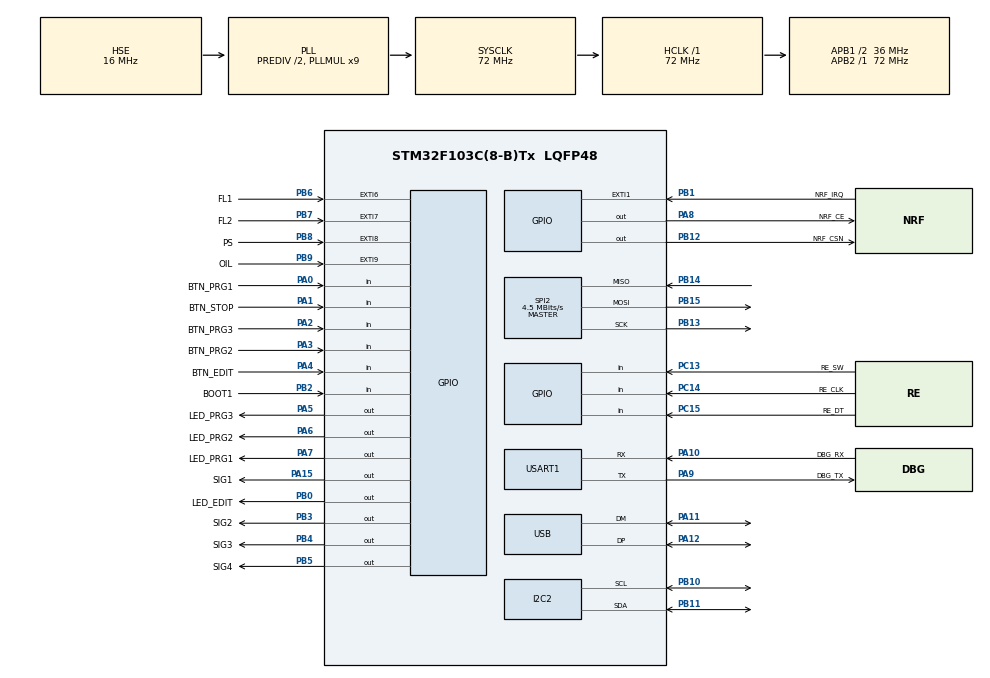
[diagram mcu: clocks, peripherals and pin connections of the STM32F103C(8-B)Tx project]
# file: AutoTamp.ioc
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Mcu.Family=STM32F1
Mcu.Name=STM32F103C(8-B)Tx
Mcu.Package=LQFP48
NVIC.EXTI1_IRQn=true\:0\:0\:false\:false\:true\:true\:true\:true
NVIC.EXTI9_5_IRQn=true\:0\:0\:false\:false\:true\:true\:true\:true
NVIC.PriorityGroup=NVIC_PRIORITYGROUP_4
NVIC.TIM2_IRQn=true\:0\:0\:false\:false\:true\:true\:true\:true
NVIC.TIM3_IRQn=true\:0\:0\:false\:false\:true\:true\:true\:true
NVIC.USB_LP_CAN1_RX0_IRQn=true\:0\:0\:false\:false\:true\:false\:true\:true
PA0-WKUP.GPIO_Label=BTN_PRG1
PA0-WKUP.Signal=GPIO_Input
PA1.GPIO_Label=BTN_STOP
PA1.Signal=GPIO_Input
PA10.GPIO_Label=DBG_RX
PA10.Mode=Asynchronous
PA10.Signal=USART1_RX
PA11.Mode=Device
PA11.Signal=USB_DM
PA12.Mode=Device
PA12.Signal=USB_DP
PA13.Mode=Serial_Wire
PA13.Signal=SYS_JTMS-SWDIO
PA14.Mode=Serial_Wire
PA14.Signal=SYS_JTCK-SWCLK
PA15.GPIO_Label=SIG1
PA15.Signal=GPIO_Output
PA2.GPIO_Label=BTN_PRG3
PA2.Signal=GPIO_Input
PA3.GPIO_Label=BTN_PRG2
PA3.Signal=GPIO_Input
PA4.GPIO_Label=BTN_EDIT
PA4.Signal=GPIO_Input
PA5.GPIO_Label=LED_PRG3
PA5.Signal=GPIO_Output
PA6.GPIO_Label=LED_PRG2
PA6.Signal=GPIO_Output
PA7.GPIO_Label=LED_PRG1
PA7.Signal=GPIO_Output
PA8.GPIO_Label=NRF_CE
PA8.GPIO_Speed=GPIO_SPEED_FREQ_HIGH
PA8.PinState=GPIO_PIN_RESET
PA8.Signal=GPIO_Output
PA9.GPIO_Label=DBG_TX
PA9.Mode=Asynchronous
PA9.Signal=USART1_TX
PB0.GPIO_Label=LED_EDIT
PB0.Signal=GPIO_Output
PB1.GPIO_Label=NRF_IRQ
PB1.GPIO_ModeDefaultEXTI=GPIO_MODE_IT_FALLING
PB1.Signal=GPXTI1
PB10.Mode=I2C
PB10.Signal=I2C2_SCL
PB11.Mode=I2C
PB11.Signal=I2C2_SDA
PB12.GPIO_Label=NRF_CSN
PB12.GPIO_Speed=GPIO_SPEED_FREQ_HIGH
PB12.PinState=GPIO_PIN_RESET
PB12.Signal=GPIO_Output
PB13.Mode=Full_Duplex_Master
PB13.Signal=SPI2_SCK
PB14.Mode=Full_Duplex_Master
PB14.Signal=SPI2_MISO
PB15.Mode=Full_Duplex_Master
PB15.Signal=SPI2_MOSI
PB2.GPIO_Label=BOOT1
PB2.Signal=GPIO_Input
PB3.GPIO_Label=SIG2
PB3.Signal=GPIO_Output
PB4.GPIO_Label=SIG3
PB4.Signal=GPIO_Output
PB5.GPIO_Label=SIG4
PB5.Signal=GPIO_Output
PB6.GPIO_Label=FL1
PB6.GPIO_ModeDefaultEXTI=GPIO_MODE_IT_FALLING
PB6.Signal=GPXTI6
PB7.GPIO_Label=FL2
PB7.GPIO_ModeDefaultEXTI=GPIO_MODE_IT_FALLING
PB7.Signal=GPXTI7
PB8.GPIO_Label=PS
PB8.GPIO_ModeDefaultEXTI=GPIO_MODE_IT_FALLING
PB8.Signal=GPXTI8
PB9.GPIO_Label=OIL
PB9.GPIO_ModeDefaultEXTI=GPIO_MODE_IT_FALLING
PB9.Signal=GPXTI9
PC13-TAMPER-RTC.GPIO_Label=RE_SW
PC13-TAMPER-RTC.Signal=GPIO_Input
PC14-OSC32_IN.GPIO_Label=RE_CLK
PC14-OSC32_IN.Signal=GPIO_Input
PC15-OSC32_OUT.GPIO_Label=RE_DT
PC15-OSC32_OUT.Signal=GPIO_Input
PD0-OSC_IN.Mode=HSE-External-Oscillator
PD0-OSC_IN.Signal=RCC_OSC_IN
PD1-OSC_OUT.Mode=HSE-External-Oscillator
PD1-OSC_OUT.Signal=RCC_OSC_OUT
ProjectManager.HeapSize=0x200
ProjectManager.StackSize=0x400
ProjectManager.TargetToolchain=STM32CubeIDE
RCC.AHBFreq_Value=72000000
RCC.APB1CLKDivider=RCC_HCLK_DIV2
RCC.APB1Freq_Value=36000000
RCC.APB1TimFreq_Value=72000000
RCC.APB2Freq_Value=72000000
RCC.APB2TimFreq_Value=72000000
RCC.HCLKFreq_Value=72000000
RCC.HSEDivPLL=RCC_HSE_PREDIV_DIV2
RCC.HSE_VALUE=16000000
RCC.PLLMUL=RCC_PLL_MUL9
RCC.SYSCLKFreq_VALUE=72000000
RCC.SYSCLKSource=RCC_SYSCLKSOURCE_PLLCLK
RCC.USBFreq_Value=48000000
RCC.USBPrescaler=RCC_USBCLKSOURCE_PLL_DIV1_5
SPI2.BaudRatePrescaler=SPI_BAUDRATEPRESCALER_8
SPI2.CalculateBaudRate=4.5 MBits/s
SPI2.Direction=SPI_DIRECTION_2LINES
SPI2.Mode=SPI_MODE_MASTER
SPI2.VirtualType=VM_MASTER
TIM2.Period=1000 - 1
TIM2.Prescaler=720 - 1
TIM3.Period=400 - 1
TIM3.Prescaler=72 - 1
USART1.VirtualMode=VM_ASYNC
USB_DEVICE.CLASS_NAME_FS=CDC
USB_DEVICE.VirtualMode=Cdc
USB_DEVICE.VirtualModeFS=Cdc_FS
VP_TIM2_VS_ClockSourceINT.Mode=Internal
VP_TIM3_VS_ClockSourceINT.Mode=Internal
VP_USB_DEVICE_VS_USB_DEVICE_CDC_FS.Mode=CDC_FS
board=custom

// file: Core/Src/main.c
/* USER CODE BEGIN Header */
/**
 ******************************************************************************
 * @file           : main.c
 * @brief          : Main program body
 ******************************************************************************
 * @attention
 *
 * Copyright (c) 2023 STMicroelectronics.
 * All rights reserved.
 *
 * This software is licensed under terms that can be found in the LICENSE file
 * in the root directory of this software component.
 * If no LICENSE file comes with this software, it is provided AS-IS.
 *
 ******************************************************************************
 */
/* USER CODE END Header */
#include "main.h"
#include "usb_device.h"

/* USER CODE BEGIN Includes */
#include "modules/movement.h"
#include "modules/input.h"
#include "modules/sensor.h"
#include "modules/memory.h"
#include "modules/display.h"
#include "modules/receiver.h"
#include "modules/LED.h"
#include "control.h"
/* USER CODE END Includes */

I2C_HandleTypeDef hi2c2;

SPI_HandleTypeDef hspi2;

TIM_HandleTypeDef htim2;
TIM_HandleTypeDef htim3;

UART_HandleTypeDef huart1;

void SystemClock_Config(void);
static void MX_GPIO_Init(void);
static void MX_I2C2_Init(void);
static void MX_SPI2_Init(void);
static void MX_USART1_UART_Init(void);
static void MX_TIM2_Init(void);
static void MX_TIM3_Init(void);

int main(void)
{

  /* MCU Configuration--------------------------------------------------------*/

  /* Reset of all peripherals, Initializes the Flash interface and the Systick. */
  HAL_Init();

  /* Configure the system clock */
  SystemClock_Config();

  /* Initialize all configured peripherals */
  MX_GPIO_Init();
  MX_I2C2_Init();
  MX_SPI2_Init();
  MX_USART1_UART_Init();
  MX_USB_DEVICE_Init();
  MX_TIM2_Init();
  MX_TIM3_Init();
  /* USER CODE BEGIN 2 */

	HAL_Delay(200);

	Movement_Init();
	Input_Init();
	Sensor_Init();
	Memory_Init(&hi2c2);
	Receiver_Init(&hspi2);
	Display_Init(&hi2c2);

	HAL_Delay(100);

	Control_Init();

  /* USER CODE END 2 */

  /* Infinite loop */
  /* USER CODE BEGIN WHILE */
	while (1) {
		Control_Loop();
    /* USER CODE END WHILE */

	}
}

void SystemClock_Config(void)
{
  RCC_OscInitTypeDef RCC_OscInitStruct = {0};
  RCC_ClkInitTypeDef RCC_ClkInitStruct = {0};
  RCC_PeriphCLKInitTypeDef PeriphClkInit = {0};

  /** Initializes the RCC Oscillators according to the specified parameters
  * in the RCC_OscInitTypeDef structure.
  */
  RCC_OscInitStruct.OscillatorType = RCC_OSCILLATORTYPE_HSE;
  RCC_OscInitStruct.HSEState = RCC_HSE_ON;
  RCC_OscInitStruct.HSEPredivValue = RCC_HSE_PREDIV_DIV2;
  RCC_OscInitStruct.HSIState = RCC_HSI_ON;
  RCC_OscInitStruct.PLL.PLLState = RCC_PLL_ON;
  RCC_OscInitStruct.PLL.PLLSource = RCC_PLLSOURCE_HSE;
  RCC_OscInitStruct.PLL.PLLMUL = RCC_PLL_MUL9;
  if (HAL_RCC_OscConfig(&RCC_OscInitStruct) != HAL_OK)
  {
    Error_Handler();
  }

  /** Initializes the CPU, AHB and APB buses clocks
  */
  RCC_ClkInitStruct.ClockType = RCC_CLOCKTYPE_HCLK|RCC_CLOCKTYPE_SYSCLK
                              |RCC_CLOCKTYPE_PCLK1|RCC_CLOCKTYPE_PCLK2;
  RCC_ClkInitStruct.SYSCLKSource = RCC_SYSCLKSOURCE_PLLCLK;
  RCC_ClkInitStruct.AHBCLKDivider = RCC_SYSCLK_DIV1;
  RCC_ClkInitStruct.APB1CLKDivider = RCC_HCLK_DIV2;
  RCC_ClkInitStruct.APB2CLKDivider = RCC_HCLK_DIV1;

  if (HAL_RCC_ClockConfig(&RCC_ClkInitStruct, FLASH_LATENCY_2) != HAL_OK)
  {
    Error_Handler();
  }
  PeriphClkInit.PeriphClockSelection = RCC_PERIPHCLK_USB;
  PeriphClkInit.UsbClockSelection = RCC_USBCLKSOURCE_PLL_DIV1_5;
  if (HAL_RCCEx_PeriphCLKConfig(&PeriphClkInit) != HAL_OK)
  {
    Error_Handler();
  }
}

static void MX_I2C2_Init(void)
{

  hi2c2.Instance = I2C2;
  hi2c2.Init.ClockSpeed = 100000;
  hi2c2.Init.DutyCycle = I2C_DUTYCYCLE_2;
  hi2c2.Init.OwnAddress1 = 0;
  hi2c2.Init.AddressingMode = I2C_ADDRESSINGMODE_7BIT;
  hi2c2.Init.DualAddressMode = I2C_DUALADDRESS_DISABLE;
  hi2c2.Init.OwnAddress2 = 0;
  hi2c2.Init.GeneralCallMode = I2C_GENERALCALL_DISABLE;
  hi2c2.Init.NoStretchMode = I2C_NOSTRETCH_DISABLE;
  if (HAL_I2C_Init(&hi2c2) != HAL_OK)
  {
    Error_Handler();
  }

}

static void MX_SPI2_Init(void)
{

  /* SPI2 parameter configuration*/
  hspi2.Instance = SPI2;
  hspi2.Init.Mode = SPI_MODE_MASTER;
  hspi2.Init.Direction = SPI_DIRECTION_2LINES;
  hspi2.Init.DataSize = SPI_DATASIZE_8BIT;
  hspi2.Init.CLKPolarity = SPI_POLARITY_LOW;
  hspi2.Init.CLKPhase = SPI_PHASE_1EDGE;
  hspi2.Init.NSS = SPI_NSS_SOFT;
  hspi2.Init.BaudRatePrescaler = SPI_BAUDRATEPRESCALER_8;
  hspi2.Init.FirstBit = SPI_FIRSTBIT_MSB;
  hspi2.Init.TIMode = SPI_TIMODE_DISABLE;
  hspi2.Init.CRCCalculation = SPI_CRCCALCULATION_DISABLE;
  hspi2.Init.CRCPolynomial = 10;
  if (HAL_SPI_Init(&hspi2) != HAL_OK)
  {
    Error_Handler();
  }

}

static void MX_TIM2_Init(void)
{

  TIM_ClockConfigTypeDef sClockSourceConfig = {0};
  TIM_MasterConfigTypeDef sMasterConfig = {0};

  htim2.Instance = TIM2;
  htim2.Init.Prescaler = 720 - 1;
  htim2.Init.CounterMode = TIM_COUNTERMODE_UP;
  htim2.Init.Period = 1000 - 1;
  htim2.Init.ClockDivision = TIM_CLOCKDIVISION_DIV1;
  htim2.Init.AutoReloadPreload = TIM_AUTORELOAD_PRELOAD_DISABLE;
  if (HAL_TIM_Base_Init(&htim2) != HAL_OK)
  {
    Error_Handler();
  }
  sClockSourceConfig.ClockSource = TIM_CLOCKSOURCE_INTERNAL;
  if (HAL_TIM_ConfigClockSource(&htim2, &sClockSourceConfig) != HAL_OK)
  {
    Error_Handler();
  }
  sMasterConfig.MasterOutputTrigger = TIM_TRGO_RESET;
  sMasterConfig.MasterSlaveMode = TIM_MASTERSLAVEMODE_DISABLE;
  if (HAL_TIMEx_MasterConfigSynchronization(&htim2, &sMasterConfig) != HAL_OK)
  {
    Error_Handler();
  }
  /* USER CODE BEGIN TIM2_Init 2 */
	if (HAL_TIM_Base_Start_IT(&htim2) != HAL_OK) {
		Error_Handler();
	}
  /* USER CODE END TIM2_Init 2 */

}

static void MX_TIM3_Init(void)
{

  TIM_ClockConfigTypeDef sClockSourceConfig = {0};
  TIM_MasterConfigTypeDef sMasterConfig = {0};

  htim3.Instance = TIM3;
  htim3.Init.Prescaler = 72 - 1;
  htim3.Init.CounterMode = TIM_COUNTERMODE_UP;
  htim3.Init.Period = 400 - 1;
  htim3.Init.ClockDivision = TIM_CLOCKDIVISION_DIV1;
  htim3.Init.AutoReloadPreload = TIM_AUTORELOAD_PRELOAD_DISABLE;
  if (HAL_TIM_Base_Init(&htim3) != HAL_OK)
  {
    Error_Handler();
  }
  sClockSourceConfig.ClockSource = TIM_CLOCKSOURCE_INTERNAL;
  if (HAL_TIM_ConfigClockSource(&htim3, &sClockSourceConfig) != HAL_OK)
  {
    Error_Handler();
  }
  sMasterConfig.MasterOutputTrigger = TIM_TRGO_RESET;
  sMasterConfig.MasterSlaveMode = TIM_MASTERSLAVEMODE_DISABLE;
  if (HAL_TIMEx_MasterConfigSynchronization(&htim3, &sMasterConfig) != HAL_OK)
  {
    Error_Handler();
  }
  /* USER CODE BEGIN TIM3_Init 2 */
  if (HAL_TIM_Base_Start_IT(&htim3) != HAL_OK) {
  		Error_Handler();
  	}
  /* USER CODE END TIM3_Init 2 */

}

static void MX_USART1_UART_Init(void)
{

  huart1.Instance = USART1;
  huart1.Init.BaudRate = 115200;
  huart1.Init.WordLength = UART_WORDLENGTH_8B;
  huart1.Init.StopBits = UART_STOPBITS_1;
  huart1.Init.Parity = UART_PARITY_NONE;
  huart1.Init.Mode = UART_MODE_TX_RX;
  huart1.Init.HwFlowCtl = UART_HWCONTROL_NONE;
  huart1.Init.OverSampling = UART_OVERSAMPLING_16;
  if (HAL_UART_Init(&huart1) != HAL_OK)
  {
    Error_Handler();
  }

}

static void MX_GPIO_Init(void)
{
  GPIO_InitTypeDef GPIO_InitStruct = {0};

  /* GPIO Ports Clock Enable */
  __HAL_RCC_GPIOC_CLK_ENABLE();
  __HAL_RCC_GPIOD_CLK_ENABLE();
  __HAL_RCC_GPIOA_CLK_ENABLE();
  __HAL_RCC_GPIOB_CLK_ENABLE();

  /*Configure GPIO pin Output Level */
  HAL_GPIO_WritePin(GPIOA, LED_PRG3_Pin|LED_PRG2_Pin|LED_PRG1_Pin|NRF_CE_Pin
                          |SIG1_Pin, GPIO_PIN_RESET);

  /*Configure GPIO pin Output Level */
  HAL_GPIO_WritePin(GPIOB, LED_EDIT_Pin|NRF_CSN_Pin|SIG2_Pin|SIG3_Pin
                          |SIG4_Pin, GPIO_PIN_RESET);

  /*Configure GPIO pins : RE_SW_Pin RE_CLK_Pin RE_DT_Pin */
  GPIO_InitStruct.Pin = RE_SW_Pin|RE_CLK_Pin|RE_DT_Pin;
  GPIO_InitStruct.Mode = GPIO_MODE_INPUT;
  GPIO_InitStruct.Pull = GPIO_NOPULL;
  HAL_GPIO_Init(GPIOC, &GPIO_InitStruct);

  /*Configure GPIO pins : BTN_PRG1_Pin BTN_STOP_Pin BTN_PRG3_Pin BTN_PRG2_Pin
                           BTN_EDIT_Pin */
  GPIO_InitStruct.Pin = BTN_PRG1_Pin|BTN_STOP_Pin|BTN_PRG3_Pin|BTN_PRG2_Pin
                          |BTN_EDIT_Pin;
  GPIO_InitStruct.Mode = GPIO_MODE_INPUT;
  GPIO_InitStruct.Pull = GPIO_NOPULL;
  HAL_GPIO_Init(GPIOA, &GPIO_InitStruct);

  /*Configure GPIO pins : LED_PRG3_Pin LED_PRG2_Pin LED_PRG1_Pin SIG1_Pin */
  GPIO_InitStruct.Pin = LED_PRG3_Pin|LED_PRG2_Pin|LED_PRG1_Pin|SIG1_Pin;
  GPIO_InitStruct.Mode = GPIO_MODE_OUTPUT_PP;
  GPIO_InitStruct.Pull = GPIO_NOPULL;
  GPIO_InitStruct.Speed = GPIO_SPEED_FREQ_LOW;
  HAL_GPIO_Init(GPIOA, &GPIO_InitStruct);

  /*Configure GPIO pins : LED_EDIT_Pin SIG2_Pin SIG3_Pin SIG4_Pin */
  GPIO_InitStruct.Pin = LED_EDIT_Pin|SIG2_Pin|SIG3_Pin|SIG4_Pin;
  GPIO_InitStruct.Mode = GPIO_MODE_OUTPUT_PP;
  GPIO_InitStruct.Pull = GPIO_NOPULL;
  GPIO_InitStruct.Speed = GPIO_SPEED_FREQ_LOW;
  HAL_GPIO_Init(GPIOB, &GPIO_InitStruct);

  /*Configure GPIO pins : NRF_IRQ_Pin FL1_Pin FL2_Pin PS_Pin
                           OIL_Pin */
  GPIO_InitStruct.Pin = NRF_IRQ_Pin|FL1_Pin|FL2_Pin|PS_Pin
                          |OIL_Pin;
  GPIO_InitStruct.Mode = GPIO_MODE_IT_FALLING;
  GPIO_InitStruct.Pull = GPIO_NOPULL;
  HAL_GPIO_Init(GPIOB, &GPIO_InitStruct);

  /*Configure GPIO pin : BOOT1_Pin */
  GPIO_InitStruct.Pin = BOOT1_Pin;
  GPIO_InitStruct.Mode = GPIO_MODE_INPUT;
  GPIO_InitStruct.Pull = GPIO_NOPULL;
  HAL_GPIO_Init(BOOT1_GPIO_Port, &GPIO_InitStruct);

  /*Configure GPIO pin : NRF_CSN_Pin */
  GPIO_InitStruct.Pin = NRF_CSN_Pin;
  GPIO_InitStruct.Mode = GPIO_MODE_OUTPUT_PP;
  GPIO_InitStruct.Pull = GPIO_NOPULL;
  GPIO_InitStruct.Speed = GPIO_SPEED_FREQ_HIGH;
  HAL_GPIO_Init(NRF_CSN_GPIO_Port, &GPIO_InitStruct);

  /*Configure GPIO pin : NRF_CE_Pin */
  GPIO_InitStruct.Pin = NRF_CE_Pin;
  GPIO_InitStruct.Mode = GPIO_MODE_OUTPUT_PP;
  GPIO_InitStruct.Pull = GPIO_NOPULL;
  GPIO_InitStruct.Speed = GPIO_SPEED_FREQ_HIGH;
  HAL_GPIO_Init(NRF_CE_GPIO_Port, &GPIO_InitStruct);

  /* EXTI interrupt init*/
  HAL_NVIC_SetPriority(EXTI1_IRQn, 0, 0);
  HAL_NVIC_EnableIRQ(EXTI1_IRQn);

  HAL_NVIC_SetPriority(EXTI9_5_IRQn, 0, 0);
  HAL_NVIC_EnableIRQ(EXTI9_5_IRQn);

}

/* USER CODE BEGIN 4 */
//every 10 milliseconds
void HAL_TIM_PeriodElapsedCallback(TIM_HandleTypeDef *htim) {
	if (htim == &htim2) {
		Input_Handler();//every 10 milliseconds
	}else{//tim3
		Sensor_Handler_tim();//every 400 microseconds
	}
}

void HAL_GPIO_EXTI_Callback(uint16_t GPIO_Pin) {
	if (GPIO_Pin == NRF_IRQ_Pin) {
		Receiver_Handler();
	}
	else {
		Sensor_Handler_irq(GPIO_Pin);
	}
}
/* USER CODE END 4 */

void Error_Handler(void)
{
	__disable_irq();
	while (1) {
	}
}
